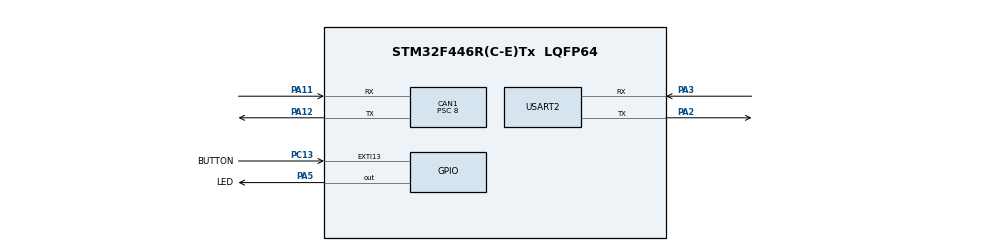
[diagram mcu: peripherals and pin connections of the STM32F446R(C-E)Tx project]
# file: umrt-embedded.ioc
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CAN1.BS1=CAN_BS1_2TQ
CAN1.CalculateBaudRate=500000
CAN1.CalculateTimeBit=2000
CAN1.CalculateTimeQuantum=500.0
CAN1.Mode=CAN_MODE_NORMAL
CAN1.Prescaler=8
CAN1.SJW=CAN_SJW_1TQ
CAN1.TXFP=DISABLE
Mcu.Family=STM32F4
Mcu.Name=STM32F446R(C-E)Tx
Mcu.Package=LQFP64
NVIC.CAN1_RX0_IRQn=true\:0\:0\:false\:false\:true\:true\:true\:true
NVIC.CAN1_TX_IRQn=true\:0\:0\:false\:false\:true\:true\:true\:true
NVIC.EXTI15_10_IRQn=true\:0\:0\:false\:false\:true\:true\:true\:true
NVIC.PriorityGroup=NVIC_PRIORITYGROUP_4
PA11.Mode=CAN_Activate
PA11.Signal=CAN1_RX
PA12.Mode=CAN_Activate
PA12.Signal=CAN1_TX
PA2.Mode=Asynchronous
PA2.Signal=USART2_TX
PA3.Mode=Asynchronous
PA3.Signal=USART2_RX
PA5.GPIO_Label=LED
PA5.Signal=GPIO_Output
PC13.GPIO_Label=BUTTON
PC13.GPIO_ModeDefaultEXTI=GPIO_MODE_IT_RISING
PC13.GPIO_PuPd=GPIO_PULLUP
PC13.Signal=GPXTI13
ProjectManager.HeapSize=0x200
ProjectManager.StackSize=0x400
ProjectManager.TargetToolchain=STM32CubeIDE
RCC.CortexFreq_Value=16000000
RCC.USBFreq_Value=96000000
RCC.VCOOutputFreq_Value=192000000
USART2.VirtualMode=VM_ASYNC
board=custom

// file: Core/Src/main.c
/* USER CODE BEGIN Header */
/**
  ******************************************************************************
  * @file           : main.c
  * @brief          : Main program body
  ******************************************************************************
  * @attention
  *
  * Copyright (c) 2024 STMicroelectronics.
  * All rights reserved.
  *
  * This software is licensed under terms that can be found in the LICENSE file
  * in the root directory of this software component.
  * If no LICENSE file comes with this software, it is provided AS-IS.
  *
  ******************************************************************************
  */
/* USER CODE END Header */
#include "main.h"

/* USER CODE BEGIN Includes */
#include <stdio.h>
#include <stdbool.h>
#include "stm32f4xx_hal.h"
#include "stm32f4xx_hal_can.h"
#include "UMRT/CAN.h"
/* USER CODE END Includes */

/* USER CODE BEGIN PD */

typedef struct {
	int16_t motor1;
	int16_t motor2;
	int16_t motor3;
	int16_t motor4;
} MotorMessage;

void PID_UpdateTargetSpeed_SOMEHOW(MotorMessage targetSpeed) {
	// do nothing :)
}

void CAN_MsgReceived(CAN_HandleTypeDef *hcan, CAN_RxHeaderTypeDef *rxheader, uint8_t *rxdata) {
	// For CAN IDs, try to stay in the range: 0xFF00-0xFFFF or 0x1FF00-0x1FFFF.
	// This fits better in J1939 if we decide to move to that system.
	printf("CAN_MsgReceived\r\n");
	switch (rxheader->ExtId) {
	case 0xFF10: // Motor control
		assert(rxheader->DLC == 8);
		printf("Motor Message received!\r\n");

		MotorMessage targetSpeed = {0};
		targetSpeed.motor1 = ((int16_t*)rxdata)[0];
		targetSpeed.motor2 = ((int16_t*)rxdata)[1];
		targetSpeed.motor3 = ((int16_t*)rxdata)[2];
		targetSpeed.motor4 = ((int16_t*)rxdata)[3];

		printf("  --> targetSpeed.motor1 == %i (%04x)\r\n", targetSpeed.motor1, targetSpeed.motor1);
		printf("  --> targetSpeed.motor2 == %i (%04x)\r\n", targetSpeed.motor2, targetSpeed.motor2);
		printf("  --> targetSpeed.motor3 == %i (%04x)\r\n", targetSpeed.motor3, targetSpeed.motor3);
		printf("  --> targetSpeed.motor4 == %i (%04x)\r\n", targetSpeed.motor4, targetSpeed.motor4);

		PID_UpdateTargetSpeed_SOMEHOW(targetSpeed);

		break;
	case 0xFF40: // Headlights
		printf("Headlights Message received!\r\n");
	}
}
/* USER CODE END PD */

CAN_HandleTypeDef hcan1;

UART_HandleTypeDef huart2;

void SystemClock_Config(void);
static void MX_GPIO_Init(void);
static void MX_USART2_UART_Init(void);
static void MX_CAN1_Init(void);

/* USER CODE BEGIN 0 */

// CAN headers
CAN_TxHeaderTypeDef CAN1_Tx = {0};
uint8_t CAN1_TxData[8];

/**
 * Redirects printf to the UART console.
 *
 * it 'just works' but to read the messages:
 * 		on linux: $ minicom -b 115200 /dev/ttyACM0
 * 		on others: PuTTY might work, but Arduino IDE's serial monitor works perfectly too.
 *
 * Note that this is very slow and should be removed for '''production'''.
 * And add the line: #define printf(...) ;
 * and build with optimizations.
 */
int __io_putchar(int ch) {
  HAL_StatusTypeDef result = HAL_UART_Transmit(&huart2, (uint8_t *)&ch, 1, 10);
  if (result != HAL_OK) {
	  // Backup to indicate printing isn't working.
	  HAL_GPIO_TogglePin(GPIOA, GPIO_PIN_5);
  }
  return ch;
}

void HAL_GPIO_EXTI_Callback(uint16_t Pin) {
	printf("BUTTON PRESSED\r\n");
	CAN1_Tx.ExtId = 0xff10;
	CAN1_Tx.IDE = CAN_ID_EXT;
	CAN1_Tx.RTR = CAN_RTR_DATA;
	CAN1_Tx.TransmitGlobalTime = DISABLE;

	CAN1_Tx.DLC = 8;
	int16_t* dummy = CAN1_TxData;
	dummy[0] += 1;
	dummy[1] += 2;
	dummy[2] += 3;
	dummy[3] += 400;
	uint32_t mb;
	HAL_StatusTypeDef status = HAL_CAN_AddTxMessage(&hcan1, &CAN1_Tx, CAN1_TxData, &mb);

	if (status != HAL_OK) printf("Status: %u\r\n", status);
	if (status == HAL_ERROR) HAL_CAN_ErrorCallback(&hcan1);
}
/* USER CODE END 0 */

int main(void)
{

  /* MCU Configuration--------------------------------------------------------*/

  /* Reset of all peripherals, Initializes the Flash interface and the Systick. */
  HAL_Init();

  /* Configure the system clock */
  SystemClock_Config();

  /* Initialize all configured peripherals */
  MX_GPIO_Init();
  MX_USART2_UART_Init();
  MX_CAN1_Init();
  /* USER CODE BEGIN 2 */
  printf("Debug interface working! baud=%lu\r\n", (uint32_t)huart2.Init.BaudRate);
  CAN_Setup(&hcan1);

  printf("starting...");
  HAL_StatusTypeDef status = HAL_CAN_Start(&hcan1);
  if (status == HAL_OK) printf("success!\r\n");
  else {
	  printf("failed! :( status == %u\r\n", status);
  	  if (status == HAL_ERROR) HAL_CAN_ErrorCallback(&hcan1);
  }
  /* USER CODE END 2 */

  /* Infinite loop */
  /* USER CODE BEGIN WHILE */

  uint8_t i = 0;
  uint32_t mailbox_id;
  while (1)
  {
    /* USER CODE END WHILE */

  }
}

void SystemClock_Config(void)
{
  RCC_OscInitTypeDef RCC_OscInitStruct = {0};
  RCC_ClkInitTypeDef RCC_ClkInitStruct = {0};

  /** Configure the main internal regulator output voltage
  */
  __HAL_RCC_PWR_CLK_ENABLE();
  __HAL_PWR_VOLTAGESCALING_CONFIG(PWR_REGULATOR_VOLTAGE_SCALE3);

  /** Initializes the RCC Oscillators according to the specified parameters
  * in the RCC_OscInitTypeDef structure.
  */
  RCC_OscInitStruct.OscillatorType = RCC_OSCILLATORTYPE_HSI;
  RCC_OscInitStruct.HSIState = RCC_HSI_ON;
  RCC_OscInitStruct.HSICalibrationValue = RCC_HSICALIBRATION_DEFAULT;
  RCC_OscInitStruct.PLL.PLLState = RCC_PLL_NONE;
  if (HAL_RCC_OscConfig(&RCC_OscInitStruct) != HAL_OK)
  {
    Error_Handler();
  }

  /** Initializes the CPU, AHB and APB buses clocks
  */
  RCC_ClkInitStruct.ClockType = RCC_CLOCKTYPE_HCLK|RCC_CLOCKTYPE_SYSCLK
                              |RCC_CLOCKTYPE_PCLK1|RCC_CLOCKTYPE_PCLK2;
  RCC_ClkInitStruct.SYSCLKSource = RCC_SYSCLKSOURCE_HSI;
  RCC_ClkInitStruct.AHBCLKDivider = RCC_SYSCLK_DIV1;
  RCC_ClkInitStruct.APB1CLKDivider = RCC_HCLK_DIV1;
  RCC_ClkInitStruct.APB2CLKDivider = RCC_HCLK_DIV1;

  if (HAL_RCC_ClockConfig(&RCC_ClkInitStruct, FLASH_LATENCY_0) != HAL_OK)
  {
    Error_Handler();
  }
}

static void MX_CAN1_Init(void)
{

  hcan1.Instance = CAN1;
  hcan1.Init.Prescaler = 8;
  hcan1.Init.Mode = CAN_MODE_NORMAL;
  hcan1.Init.SyncJumpWidth = CAN_SJW_1TQ;
  hcan1.Init.TimeSeg1 = CAN_BS1_2TQ;
  hcan1.Init.TimeSeg2 = CAN_BS2_1TQ;
  hcan1.Init.TimeTriggeredMode = DISABLE;
  hcan1.Init.AutoBusOff = DISABLE;
  hcan1.Init.AutoWakeUp = DISABLE;
  hcan1.Init.AutoRetransmission = DISABLE;
  hcan1.Init.ReceiveFifoLocked = DISABLE;
  hcan1.Init.TransmitFifoPriority = DISABLE;
  if (HAL_CAN_Init(&hcan1) != HAL_OK)
  {
    Error_Handler();
  }

}

static void MX_USART2_UART_Init(void)
{

  huart2.Instance = USART2;
  huart2.Init.BaudRate = 115200;
  huart2.Init.WordLength = UART_WORDLENGTH_8B;
  huart2.Init.StopBits = UART_STOPBITS_1;
  huart2.Init.Parity = UART_PARITY_NONE;
  huart2.Init.Mode = UART_MODE_TX_RX;
  huart2.Init.HwFlowCtl = UART_HWCONTROL_NONE;
  huart2.Init.OverSampling = UART_OVERSAMPLING_16;
  if (HAL_UART_Init(&huart2) != HAL_OK)
  {
    Error_Handler();
  }

}

static void MX_GPIO_Init(void)
{
  GPIO_InitTypeDef GPIO_InitStruct = {0};

  /* GPIO Ports Clock Enable */
  __HAL_RCC_GPIOC_CLK_ENABLE();
  __HAL_RCC_GPIOA_CLK_ENABLE();

  /*Configure GPIO pin Output Level */
  HAL_GPIO_WritePin(LED_GPIO_Port, LED_Pin, GPIO_PIN_RESET);

  /*Configure GPIO pin : BUTTON_Pin */
  GPIO_InitStruct.Pin = BUTTON_Pin;
  GPIO_InitStruct.Mode = GPIO_MODE_IT_RISING;
  GPIO_InitStruct.Pull = GPIO_PULLUP;
  HAL_GPIO_Init(BUTTON_GPIO_Port, &GPIO_InitStruct);

  /*Configure GPIO pin : LED_Pin */
  GPIO_InitStruct.Pin = LED_Pin;
  GPIO_InitStruct.Mode = GPIO_MODE_OUTPUT_PP;
  GPIO_InitStruct.Pull = GPIO_NOPULL;
  GPIO_InitStruct.Speed = GPIO_SPEED_FREQ_LOW;
  HAL_GPIO_Init(LED_GPIO_Port, &GPIO_InitStruct);

  /* EXTI interrupt init*/
  HAL_NVIC_SetPriority(EXTI15_10_IRQn, 0, 0);
  HAL_NVIC_EnableIRQ(EXTI15_10_IRQn);

}

void Error_Handler(void)
{
  __disable_irq();
  while (1)
  {
  }
}
